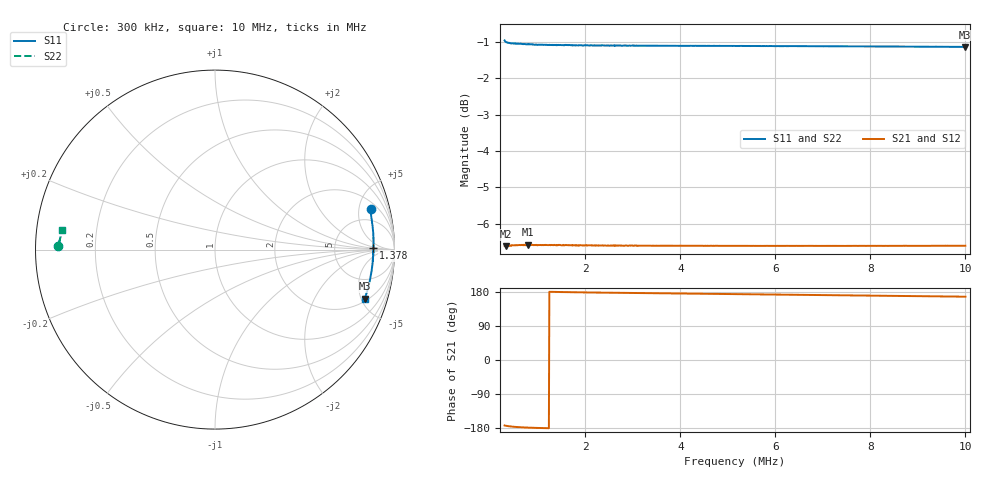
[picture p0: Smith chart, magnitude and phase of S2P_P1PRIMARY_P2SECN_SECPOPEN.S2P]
!Keysight Technologies,E5061B,MY49709559,B.05.06
!Date: Thu Apr 07 19:00:01 2022
!Data & Calibration Information:
!Freq	S11:SOLT2(ON)	S21:SOLT2(ON)	S12:SOLT2(ON)	S22:SOLT2(ON)
# Hz S RI R 50
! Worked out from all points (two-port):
!   1000 points, 300 kHz to 10 MHz, reference 50 ohm
!   highest |S21| = -6.57 dB at 785.5 kHz (marker M1); lowest = -6.6 dB at 329.1 kHz (marker M2)
!   |S21| within 3 dB of the highest: start of sweep to end of sweep
!   lowest |S11| = -1.1 dB at 9.99 MHz (marker M3), VSWR 15.32, Z = 113 - j267 ohm
!   |S11| at or under -10 dB: nowhere
!   |S22| runs from -1.3 to -1.1 dB; largest |S21 - S12| = 0.01
!   S11 on the Smith chart (normalised r, x): 300 kHz: 2.85, +6.55; 1.378 MHz: 16, +1; 10 MHz: 2.25, -5.35
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300000  0.8665 0.227  -0.4637 -0.0589  -0.4554 -0.0532  -0.8734 0.0178
329129.1  0.8677 0.2032  -0.464 -0.0521  -0.4593 -0.0483  -0.8748 0.0175
377677.7  0.8718 0.1737  -0.465 -0.0441  -0.4625 -0.0414  -0.8758 0.0163
416516.5  0.8749 0.1546  -0.4663 -0.0389  -0.4635 -0.0369  -0.8755 0.016
455355.4  0.8766 0.139  -0.4666 -0.035  -0.4642 -0.033  -0.8753 0.0157
503903.9  0.8787 0.1228  -0.4671 -0.0303  -0.4647 -0.0287  -0.8753 0.0159
562162.2  0.8797 0.1066  -0.4674 -0.0258  -0.4655 -0.0241  -0.8752 0.0163
630130.1  0.882 0.0908  -0.468 -0.0213  -0.4659 -0.0202  -0.8753 0.0163
698098.1  0.8819 0.0782  -0.468 -0.0179  -0.4663 -0.0167  -0.8753 0.0165
785485.5  0.8833 0.0646  -0.4689 -0.0139  -0.4663 -0.0133  -0.8748 0.0164
921421.4  0.8826 0.0473  -0.4686 -0.00848  -0.4666 -0.00838  -0.8744 0.018
1047648  0.8833 0.034  -0.4685 -0.00478  -0.4667 -0.00496  -0.8742 0.0194
1377778  0.8829 0.00916  -0.4683 0.00293  -0.4662 0.00276  -0.8723 0.0228
1620521  0.8826 -0.0064  -0.4682 0.00752  -0.4663 0.00726  -0.8718 0.0251
1921522  0.8818 -0.0214  -0.4679 0.0122  -0.4661 0.0122  -0.8713 0.0285
2591491  0.8803 -0.0493  -0.4676 0.0217  -0.4652 0.0214  -0.8689 0.035
3543043  0.8769 -0.0826  -0.4663 0.0335  -0.4643 0.0333  -0.8668 0.0447
5154855  0.8701 -0.1341  -0.4645 0.0522  -0.4622 0.0514  -0.8632 0.0604
6766667  0.8604 -0.1821  -0.462 0.07  -0.4598 0.0688  -0.8594 0.0763
8388188  0.8484 -0.2286  -0.4591 0.0874  -0.457 0.0858  -0.8558 0.0916
9990290  0.8339 -0.273  -0.4557 0.1044  -0.4536 0.1024  -0.8517 0.1069
1e7  0.834 -0.2733  -0.4557 0.1045  -0.4537 0.1024  -0.8519 0.1069
